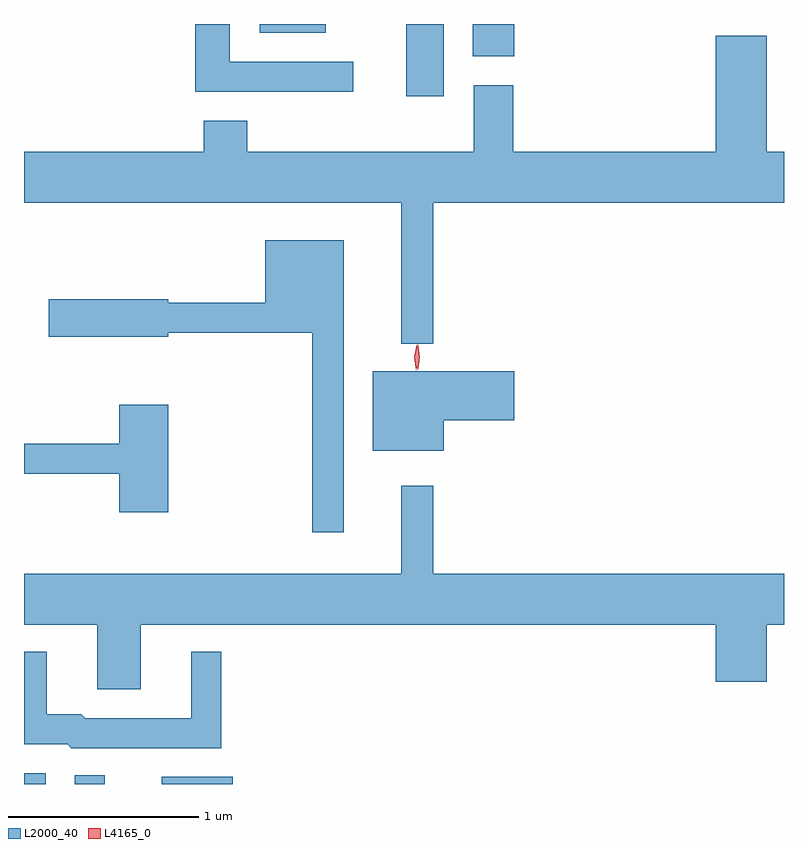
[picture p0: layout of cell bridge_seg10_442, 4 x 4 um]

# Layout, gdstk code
import gdstk
lib = gdstk.Library(unit=1e-6, precision=1e-09)
def R(c, l, rs):  # rectangles x0, y0, x1, y1
    for r in rs: c.add(gdstk.rectangle(r[:2], r[2:], *l))
def P(c, l, *ps):  # polygons
    for p in ps: c.add(gdstk.Polygon(p, *l))
L2000_40 = (2000, 40)
L4165_0 = (4165, 0)

bridge_seg10_442 = lib.new_cell('bridge_seg10_442')
R(bridge_seg10_442, L2000_40, [(1470.175,2115.297,1470.289,2115.354), (1470.441,2115.297,1470.599,2115.343), (1470.901,2115.297,1471.274,2115.334), (1472.186,2118.916,1472.384,2119.297), (1472.536,2119.126,1472.754,2119.297), (1471.416,2119.251,1471.764,2119.297)])
P(bridge_seg10_442, L2000_40, [(1471.908,2119.099),(1471.259,2119.099),(1471.259,2119.297),(1471.076,2119.297),(1471.076,2118.941),(1471.908,2118.941)],
  [(1472.329,2118.356),(1474.175,2118.356),(1474.175,2118.624),(1474.084,2118.624),(1474.084,2119.234),(1473.816,2119.234),(1473.816,2118.624),(1472.749,2118.624),(1472.749,2118.974),(1472.541,2118.974),(1472.541,2118.624),(1471.349,2118.624),(1471.349,2118.789),(1471.121,2118.789),(1471.121,2118.624),(1470.175,2118.624),(1470.175,2118.356),(1472.161,2118.356),(1472.161,2117.613),(1472.329,2117.613)],
  [(1471.859,2118.159),(1471.446,2118.159),(1471.446,2117.829),(1470.934,2117.829),(1470.934,2117.849),(1470.306,2117.849),(1470.306,2117.651),(1470.934,2117.651),(1470.934,2117.671),(1471.691,2117.671),(1471.691,2116.623),(1471.859,2116.623)],
  [(1472.384,2117.211),(1472.754,2117.211),(1472.754,2117.469),(1472.011,2117.469),(1472.011,2117.051),(1472.384,2117.051)],
  [(1470.934,2117.294),(1470.676,2117.294),(1470.676,2117.089),(1470.175,2117.089),(1470.175,2116.931),(1470.676,2116.931),(1470.676,2116.726),(1470.934,2116.726)],
  [(1470.789,2116.136),(1473.816,2116.136),(1473.816,2115.836),(1474.084,2115.836),(1474.084,2116.136),(1474.175,2116.136),(1474.175,2116.404),(1472.329,2116.404),(1472.329,2116.868),(1472.161,2116.868),(1472.161,2116.404),(1470.175,2116.404),(1470.175,2116.136),(1470.561,2116.136),(1470.561,2115.796),(1470.789,2115.796)],
  [(1471.214,2115.993),(1471.056,2115.993),(1471.056,2115.644),(1470.497,2115.644),(1470.477,2115.664),(1470.294,2115.664),(1470.294,2115.993),(1470.175,2115.993),(1470.175,2115.506),(1470.404,2115.506),(1470.424,2115.486),(1471.214,2115.486)])
P(bridge_seg10_442, L4165_0, [(1472.248,2117.48),(1472.248,2117.48),(1472.238,2117.544),(1472.248,2117.606),(1472.248,2117.607),(1472.249,2117.606),(1472.258,2117.544),(1472.249,2117.48)],
  [(1472.239,2117.474),(1472.23,2117.542),(1472.241,2117.61),(1472.241,2117.61),(1472.242,2117.61),(1472.25,2117.542),(1472.24,2117.474),(1472.24,2117.474)])

lib.write_gds('bridge_seg10_442.gds')
